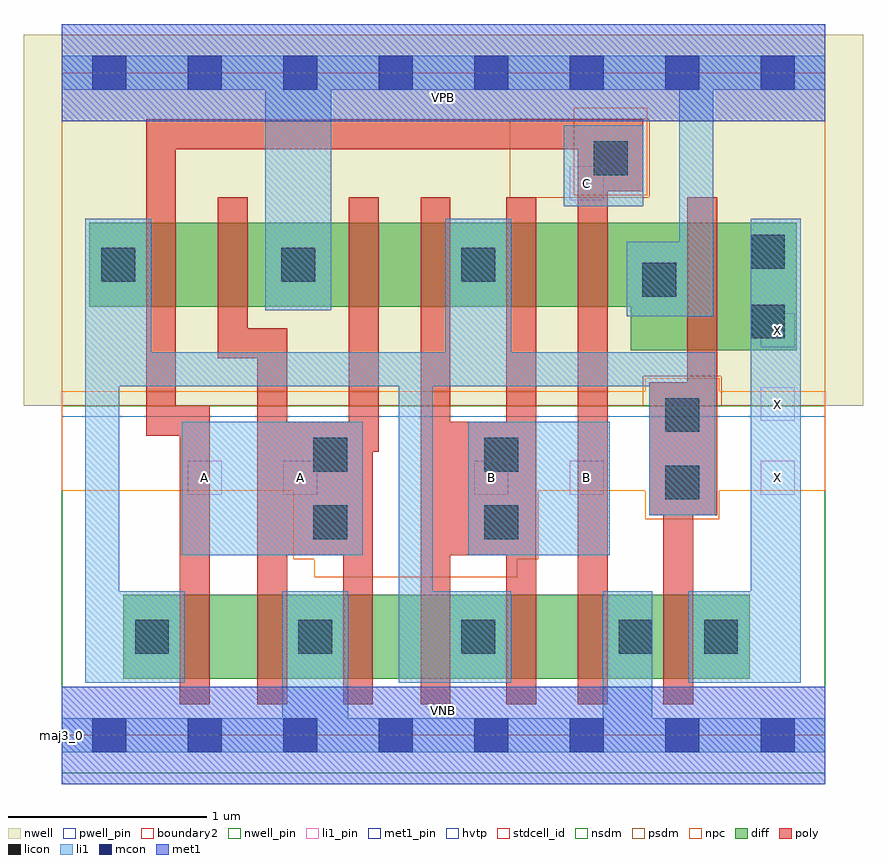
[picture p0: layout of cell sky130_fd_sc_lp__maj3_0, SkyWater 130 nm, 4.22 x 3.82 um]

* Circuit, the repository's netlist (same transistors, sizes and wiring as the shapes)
* Copyright 2020 The SkyWater PDK Authors
*
* Licensed under the Apache License, Version 2.0 (the "License");
* you may not use this file except in compliance with the License.
* You may obtain a copy of the License at
*
*     https://www.apache.org/licenses/LICENSE-2.0
*
* Unless required by applicable law or agreed to in writing, software
* distributed under the License is distributed on an "AS IS" BASIS,
* WITHOUT WARRANTIES OR CONDITIONS OF ANY KIND, either express or implied.
* See the License for the specific language governing permissions and
* limitations under the License.
*
* SPDX-License-Identifier: Apache-2.0

.SUBCKT sky130_fd_sc_lp__maj3_0 A B C VGND VNB VPB VPWR X
*.PININFO A:I B:I C:I VGND:I VNB:I VPB:I VPWR:I X:O
MMIN2 X y VGND VNB sky130_fd_pr__nfet_01v8 m=1 w=0.42U l=0.15U mult=1 sa=0.265
+ sb=0.265 sd=0.28 area=0.063 perim=1.14
MMN10 y B sndNBa VNB sky130_fd_pr__nfet_01v8 m=1 w=0.42U l=0.15U mult=1 sa=0.265
+ sb=0.265 sd=0.28 area=0.063 perim=1.14
MMN11 sndNBa A VGND VNB sky130_fd_pr__nfet_01v8 m=1 w=0.42U l=0.15U mult=1 sa=0.265
+ sb=0.265 sd=0.28 area=0.063 perim=1.14
MMN20 y B sndNBc VNB sky130_fd_pr__nfet_01v8 m=1 w=0.42U l=0.15U mult=1 sa=0.265
+ sb=0.265 sd=0.28 area=0.063 perim=1.14
MMN21 sndNBc C VGND VNB sky130_fd_pr__nfet_01v8 m=1 w=0.42U l=0.15U mult=1 sa=0.265
+ sb=0.265 sd=0.28 area=0.063 perim=1.14
MMN30 y C sndNCa VNB sky130_fd_pr__nfet_01v8 m=1 w=0.42U l=0.15U mult=1 sa=0.265
+ sb=0.265 sd=0.28 area=0.063 perim=1.14
MMN31 sndNCa A VGND VNB sky130_fd_pr__nfet_01v8 m=1 w=0.42U l=0.15U mult=1 sa=0.265
+ sb=0.265 sd=0.28 area=0.063 perim=1.14
MMIP2 X y VPWR VPB sky130_fd_pr__pfet_01v8_hvt m=1 w=0.64U l=0.15U mult=1 sa=0.265
+ sb=0.265 sd=0.28 area=0.063 perim=1.14
MMP10 VPWR A sndPAb VPB sky130_fd_pr__pfet_01v8_hvt m=1 w=0.42U l=0.15U mult=1
+ sa=0.265 sb=0.265 sd=0.28 area=0.063 perim=1.14
MMP11 sndPAb B y VPB sky130_fd_pr__pfet_01v8_hvt m=1 w=0.42U l=0.15U mult=1 sa=0.265
+ sb=0.265 sd=0.28 area=0.063 perim=1.14
MMP20 VPWR C sndPCb VPB sky130_fd_pr__pfet_01v8_hvt m=1 w=0.42U l=0.15U mult=1
+ sa=0.265 sb=0.265 sd=0.28 area=0.063 perim=1.14
MMP21 sndPCb B y VPB sky130_fd_pr__pfet_01v8_hvt m=1 w=0.42U l=0.15U mult=1 sa=0.265
+ sb=0.265 sd=0.28 area=0.063 perim=1.14
MMP30 VPWR A sndPAc VPB sky130_fd_pr__pfet_01v8_hvt m=1 w=0.42U l=0.15U mult=1
+ sa=0.265 sb=0.265 sd=0.28 area=0.063 perim=1.14
MMP31 sndPAc C y VPB sky130_fd_pr__pfet_01v8_hvt m=1 w=0.42U l=0.15U mult=1 sa=0.265
+ sb=0.265 sd=0.28 area=0.063 perim=1.14
.ENDS sky130_fd_sc_lp__maj3_0

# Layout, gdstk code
import gdstk
lib = gdstk.Library(unit=1e-6, precision=1e-09)
def R(c, l, rs):  # rectangles x0, y0, x1, y1
    for r in rs: c.add(gdstk.rectangle(r[:2], r[2:], *l))
def A(c, l, x, y, w, h, nx, ny, dx, dy):  # array of equal rectangles
    R(c, l, [(x+i*dx, y+j*dy, x+i*dx+w, y+j*dy+h) for i in range(nx) for j in range(ny)])
def P(c, l, *ps):  # polygons
    for p in ps: c.add(gdstk.Polygon(p, *l))
nwell_pin = (64, 16)
nwell = (64, 20)
diff = (65, 20)
poly = (66, 20)
licon = (66, 44)
li1_pin = (67, 16)
li1 = (67, 20)
mcon = (67, 44)
met1_pin = (68, 16)
met1 = (68, 20)
hvtp = (78, 44)
stdcell_id = (81, 4)
nsdm = (93, 44)
psdm = (94, 20)
npc = (95, 20)
pwell_pin = (122, 16)
boundary2 = (236, 0)

sky130_fd_sc_lp__maj3_0 = lib.new_cell('sky130_fd_sc_lp__maj3_0')
R(sky130_fd_sc_lp__maj3_0, nwell_pin, [(0,3.085,3.84,3.33)])
R(sky130_fd_sc_lp__maj3_0, nwell, [(-0.19,1.655,4.03,3.52)])
R(sky130_fd_sc_lp__maj3_0, diff, [(0.31,0.285,3.46,0.705)])
P(sky130_fd_sc_lp__maj3_0, diff, [(3.695,2.575),(0.14,2.575),(0.14,2.155),(2.86,2.155),(2.86,1.935),(3.695,1.935)])
P(sky130_fd_sc_lp__maj3_0, poly, [(1.595,2.705),(1.445,2.705),(1.445,1.575),(1.135,1.575),(1.135,2.045),(0.935,2.045),(0.935,2.705),(0.785,2.705),(0.785,1.895),(0.985,1.895),(0.985,0.155),(1.135,0.155),(1.135,0.905),(1.415,0.905),(1.415,0.155),(1.565,0.155),(1.565,1.425),(1.595,1.425)],
  [(2.385,2.705),(2.235,2.705),(2.235,1.575),(1.955,1.575),(1.955,2.705),(1.805,2.705),(1.805,0.155),(1.955,0.155),(1.955,0.905),(2.235,0.905),(2.235,0.155),(2.385,0.155)],
  [(2.925,3.095),(0.425,3.095),(0.425,1.505),(0.595,1.505),(0.595,0.155),(0.745,0.155),(0.745,1.655),(0.575,1.655),(0.575,2.945),(2.595,2.945),(2.595,0.155),(2.745,0.155),(2.745,2.735),(2.925,2.735)],
  [(3.295,2.705),(3.145,2.705),(3.145,1.775),(2.955,1.775),(2.955,1.105),(3.025,1.105),(3.025,0.155),(3.175,0.155),(3.175,1.105),(3.295,1.105)])
A(sky130_fd_sc_lp__maj3_0, licon, 0.37, 0.41, 0.17, 0.17, 3, 1, 0.82, 0)
A(sky130_fd_sc_lp__maj3_0, licon, 0.2, 2.28, 0.17, 0.17, 3, 1, 0.905, 0)
R(sky130_fd_sc_lp__maj3_0, licon, [(2.8,0.41,2.97,0.58), (3.23,0.41,3.4,0.58), (1.265,0.985,1.435,1.155), (2.125,0.985,2.295,1.155), (3.035,1.185,3.205,1.355), (1.265,1.325,1.435,1.495), (2.125,1.325,2.295,1.495), (3.035,1.525,3.205,1.695), (3.465,1.995,3.635,2.165), (2.92,2.205,3.09,2.375), (3.465,2.345,3.635,2.515), (2.675,2.815,2.845,2.985)])
A(sky130_fd_sc_lp__maj3_0, li1_pin, 3.515, 1.21, 0.17, 0.17, 1, 3, 0, 0.37)
R(sky130_fd_sc_lp__maj3_0, li1_pin, [(0.635,1.21,0.805,1.38), (1.115,1.21,1.285,1.38), (2.075,1.21,2.245,1.38), (2.555,1.21,2.725,1.38), (2.555,2.69,2.725,2.86)])
R(sky130_fd_sc_lp__maj3_0, li1, [(0.605,0.905,1.515,1.575), (2.045,0.905,2.755,1.575), (2.525,2.66,2.925,3.065)])
P(sky130_fd_sc_lp__maj3_0, li1, [(1.025,2.135),(1.025,3.245),(0,3.245),(0,3.415),(3.84,3.415),(3.84,3.245),(3.275,3.245),(3.275,2.105),(2.84,2.105),(2.84,2.48),(3.105,2.48),(3.105,3.245),(1.355,3.245),(1.355,2.135)],
  [(1.11,0.085),(1.11,0.725),(1.44,0.725),(1.44,0.085),(2.72,0.085),(2.72,0.725),(2.97,0.725),(2.97,0.085),(3.84,0.085),(3.84,-0.085),(0,-0.085),(0,0.085)],
  [(0.12,2.595),(0.45,2.595),(0.45,1.925),(1.93,1.925),(1.93,2.595),(2.26,2.595),(2.26,1.925),(3.285,1.925),(3.285,1.105),(2.955,1.105),(2.955,1.755),(1.865,1.755),(1.865,0.725),(2.26,0.725),(2.26,0.265),(1.695,0.265),(1.695,1.755),(0.29,1.755),(0.29,0.725),(0.62,0.725),(0.62,0.265),(0.12,0.265)],
  [(3.465,0.725),(3.465,2.595),(3.715,2.595),(3.715,0.265),(3.15,0.265),(3.15,0.725)])
A(sky130_fd_sc_lp__maj3_0, mcon, 0.155, -0.085, 0.17, 0.17, 8, 2, 0.48, 3.33)
R(sky130_fd_sc_lp__maj3_0, met1_pin, [(0,0,3.84,0.245), (0,3.085,3.84,3.33)])
R(sky130_fd_sc_lp__maj3_0, met1, [(0,-0.245,3.84,0.245), (0,3.085,3.84,3.575)])
R(sky130_fd_sc_lp__maj3_0, hvtp, [(0,1.6,3.84,3.33)])
R(sky130_fd_sc_lp__maj3_0, stdcell_id, [(0,0,3.84,3.33)])
R(sky130_fd_sc_lp__maj3_0, nsdm, [(0,-0.19,3.84,1.655)])
P(sky130_fd_sc_lp__maj3_0, psdm, [(3.84,3.52),(2.955,3.52),(2.955,2.705),(2.255,2.705),(2.255,3.095),(2.955,3.095),(2.955,3.52),(0,3.52),(0,1.655),(2.925,1.655),(2.925,1.805),(3.315,1.805),(3.315,1.655),(3.84,1.655)])
R(sky130_fd_sc_lp__maj3_0, npc, [(2.575,2.715,2.945,3.155)])
P(sky130_fd_sc_lp__maj3_0, npc, [(3.84,1.73),(3.305,1.73),(3.305,1.795),(2.935,1.795),(2.935,1.73),(0,1.73),(0,1.23),(1.165,1.23),(1.165,0.885),(1.27,0.885),(1.27,0.795),(2.29,0.795),(2.29,0.885),(2.395,0.885),(2.395,1.23),(2.935,1.23),(2.935,1.085),(3.305,1.085),(3.305,1.23),(3.84,1.23)])
R(sky130_fd_sc_lp__maj3_0, pwell_pin, [(0,0,3.84,0.245)])
R(sky130_fd_sc_lp__maj3_0, boundary2, [(0,0,3.84,3.33)])
sky130_fd_sc_lp__maj3_0.add(gdstk.Label('VNB', (1.92,0.123), layer=64, texttype=59))
sky130_fd_sc_lp__maj3_0.add(gdstk.Label('VPB', (1.92,3.208), layer=64, texttype=5))
sky130_fd_sc_lp__maj3_0.add(gdstk.Label('maj3_0', (0,0), layer=83, texttype=44))
sky130_fd_sc_lp__maj3_0.add(gdstk.Label('VPWR', (1.92,3.208), layer=68, texttype=5))
sky130_fd_sc_lp__maj3_0.add(gdstk.Label('VGND', (1.92,0.123), layer=68, texttype=5))
sky130_fd_sc_lp__maj3_0.add(gdstk.Label('A', (0.72,1.295), layer=67, texttype=5))
sky130_fd_sc_lp__maj3_0.add(gdstk.Label('A', (1.2,1.295), layer=67, texttype=5))
sky130_fd_sc_lp__maj3_0.add(gdstk.Label('B', (2.16,1.295), layer=67, texttype=5))
sky130_fd_sc_lp__maj3_0.add(gdstk.Label('B', (2.64,1.295), layer=67, texttype=5))
sky130_fd_sc_lp__maj3_0.add(gdstk.Label('C', (2.64,2.775), layer=67, texttype=5))
sky130_fd_sc_lp__maj3_0.add(gdstk.Label('X', (3.6,1.295), layer=67, texttype=5))
sky130_fd_sc_lp__maj3_0.add(gdstk.Label('X', (3.6,1.665), layer=67, texttype=5))
sky130_fd_sc_lp__maj3_0.add(gdstk.Label('X', (3.6,2.035), layer=67, texttype=5))

lib.write_gds('sky130_fd_sc_lp__maj3_0.gds')
